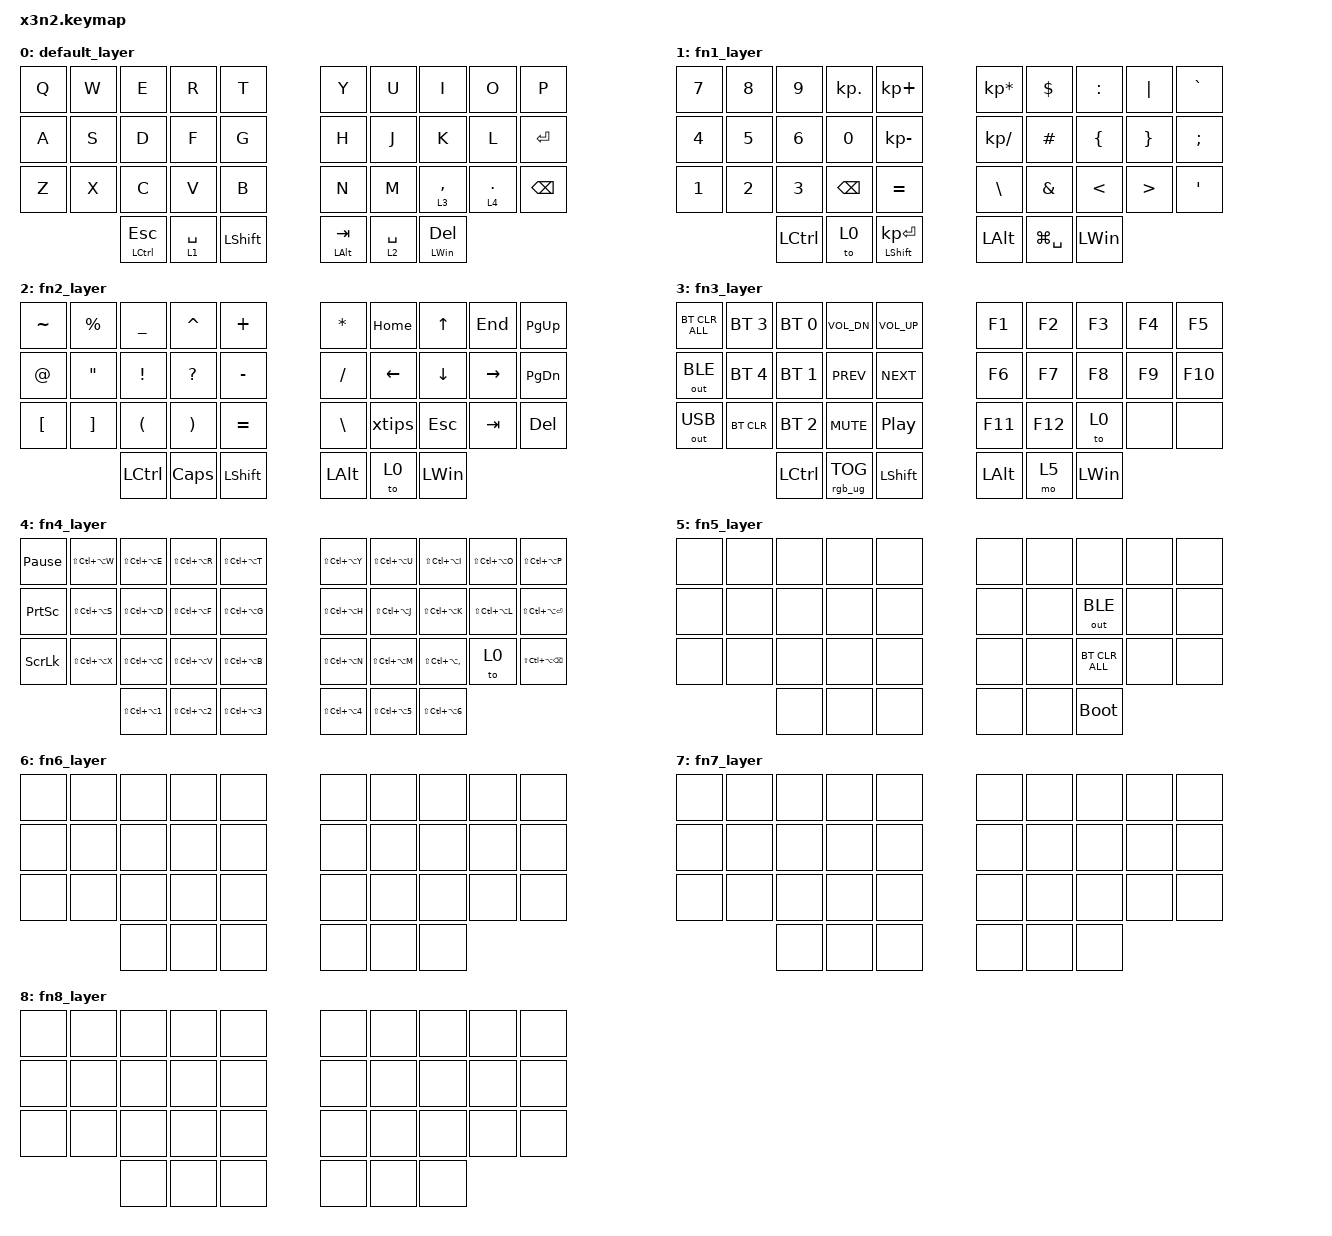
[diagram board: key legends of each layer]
/*
 * Copyright (c) 2020 The ZMK Contributors
 *
 * SPDX-License-Identifier: MIT
 */

#include <behaviors.dtsi>
#include <dt-bindings/zmk/keys.h>
#include <dt-bindings/zmk/rgb.h>
#include <dt-bindings/zmk/bt.h>
#include <dt-bindings/zmk/outputs.h>
#include <dt-bindings/zmk/ext_power.h>
#include <dt-bindings/zmk/mouse.h>

/ {
    macros {
        xtips: xtips {
            compatible = "zmk,behavior-macro";
            label = "XTIPS";
            #binding-cells = <0>;
            bindings = <&kp LS(X) &kp KP_DOT &kp LS(T) &kp I &kp P &kp S>;
            wait-ms = <1>;
            tap-ms = <1>;
        };
    };

    keymap0: keymap {
        compatible = "zmk,keymap";

        default_layer {
            bindings = <
            &kp Q                 &kp W                 &kp E                 &kp R                 &kp T                    &kp Y                 &kp U                 &kp I                 &kp O                 &kp P
            &kp A                 &kp S                 &kp D                 &kp F                 &kp G                    &kp H                 &kp J                 &kp K                 &kp L                 &kp ENTER
            &kp Z                 &kp X                 &kp C                 &kp V                 &kp B                    &kp N                 &kp M                 &lt 3 COMMA           &lt 4 DOT             &kp BSPC
                                                        &mt LCTRL ESC         &lt 1 SPACE           &kp LSHFT                &mt LALT TAB          &lt 2 SPACE           &mt LWIN DEL
            >;
        };

        fn1_layer {
            bindings = <
            &kp N7                &kp N8                &kp N9                &kp KP_DOT            &kp KP_PLUS              &kp KP_MULTIPLY       &kp DLLR              &kp COLON             &kp PIPE              &kp GRAVE
            &kp N4                &kp N5                &kp N6                &kp N0                &kp KP_MINUS             &kp KP_SLASH          &kp HASH              &kp LBRC              &kp RBRC              &kp SEMI
            &kp N1                &kp N2                &kp N3                &kp BSPC              &kp EQUAL                &kp BSLH              &kp AMPS              &kp LT                &kp GT                &kp SQT
                                                        &kp LCTRL             &to 0                 &mt LSHFT KP_ENTER       &kp LALT              &kp LG(SPACE)         &kp LWIN
            >;
        };

        fn2_layer {
            bindings = <
            &kp TILDE             &kp PRCNT             &kp UNDER             &kp CARET             &kp PLUS                 &kp STAR              &kp HOME              &kp UP                &kp END               &kp PG_UP
            &kp AT                &kp DQT               &kp EXCL              &kp QMARK             &kp MINUS                &kp SLASH             &kp LEFT              &kp DOWN              &kp RIGHT             &kp PG_DN
            &kp LBKT              &kp RBKT              &kp LPAR              &kp RPAR              &kp EQUAL                &kp BSLH              &xtips                &kp ESC               &kp TAB               &kp DEL
                                                        &kp LCTRL             &kp CAPS              &kp LSHFT                &kp LALT              &to 0                 &kp LWIN
            >;
        };

        fn3_layer {
            bindings = <
            &bt BT_CLR_ALL        &bt BT_SEL 3          &bt BT_SEL 0          &kp C_VOL_DN          &kp C_VOL_UP             &kp F1                &kp F2                &kp F3                &kp F4                &kp F5
            &out OUT_BLE          &bt BT_SEL 4          &bt BT_SEL 1          &kp C_PREV            &kp C_NEXT               &kp F6                &kp F7                &kp F8                &kp F9                &kp F10
            &out OUT_USB          &bt BT_CLR            &bt BT_SEL 2          &kp C_MUTE            &kp C_PP                 &kp F11               &kp F12               &to 0                 &none                 &none
                                                        &kp LCTRL             &rgb_ug RGB_TOG       &kp LSHFT                &kp LALT              &mo 5                 &kp LWIN
            >;
        };

        fn4_layer {
            bindings = <
            &kp PAUSE_BREAK       &kp LS(LC(LA(W)))     &kp LS(LC(LA(E)))     &kp LS(LC(LA(R)))     &kp LS(LC(LA(T)))        &kp LS(LC(LA(Y)))     &kp LS(LC(LA(U)))     &kp LS(LC(LA(I)))     &kp LS(LC(LA(O)))     &kp LS(LC(LA(P)))
            &kp PSCRN             &kp LS(LC(LA(S)))     &kp LS(LC(LA(D)))     &kp LS(LC(LA(F)))     &kp LS(LC(LA(G)))        &kp LS(LC(LA(H)))     &kp LS(LC(LA(J)))     &kp LS(LC(LA(K)))     &kp LS(LC(LA(L)))     &kp LS(LC(LA(ENTER)))
            &kp SLCK              &kp LS(LC(LA(X)))     &kp LS(LC(LA(C)))     &kp LS(LC(LA(V)))     &kp LS(LC(LA(B)))        &kp LS(LC(LA(N)))     &kp LS(LC(LA(M)))     &kp LS(LC(LA(COMMA))) &to 0                 &kp LS(LC(LA(BSPC)))
                                                        &kp LS(LC(LA(N1)))    &kp LS(LC(LA(N2)))    &kp LS(LC(LA(N3)))       &kp LS(LC(LA(N4)))    &kp LS(LC(LA(N5)))    &kp LS(LC(LA(N6)))
            >;
        };

        fn5_layer {
            bindings = <
            &none                 &none                 &none                 &none                 &none                    &none                 &none                 &none                 &none                 &none
            &none                 &none                 &none                 &none                 &none                    &none                 &none                 &out OUT_BLE          &none                 &none
            &none                 &none                 &none                 &none                 &none                    &none                 &none                 &bt BT_CLR_ALL        &none                 &none
                                                        &none                 &none                 &none                    &none                 &none                 &bootloader
            >;
        };

        fn6_layer {
            bindings = <
            &none                 &none                 &none                 &none                 &none                    &none                 &none                 &none                 &none                 &none
            &none                 &none                 &none                 &none                 &none                    &none                 &none                 &none                 &none                 &none
            &none                 &none                 &none                 &none                 &none                    &none                 &none                 &none                 &none                 &none
                                                        &none                 &none                 &none                    &none                 &none                 &none
            >;
        };

        fn7_layer {
            bindings = <
            &none                 &none                 &none                 &none                 &none                    &none                 &none                 &none                 &none                 &none
            &none                 &none                 &none                 &none                 &none                    &none                 &none                 &none                 &none                 &none
            &none                 &none                 &none                 &none                 &none                    &none                 &none                 &none                 &none                 &none
                                                        &none                 &none                 &none                    &none                 &none                 &none
            >;
        };

        fn8_layer {
            bindings = <
            &none                 &none                 &none                 &none                 &none                    &none                 &none                 &none                 &none                 &none
            &none                 &none                 &none                 &none                 &none                    &none                 &none                 &none                 &none                 &none
            &none                 &none                 &none                 &none                 &none                    &none                 &none                 &none                 &none                 &none
                                                        &none                 &none                 &none                    &none                 &none                 &none
            >;
        };
    };
};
